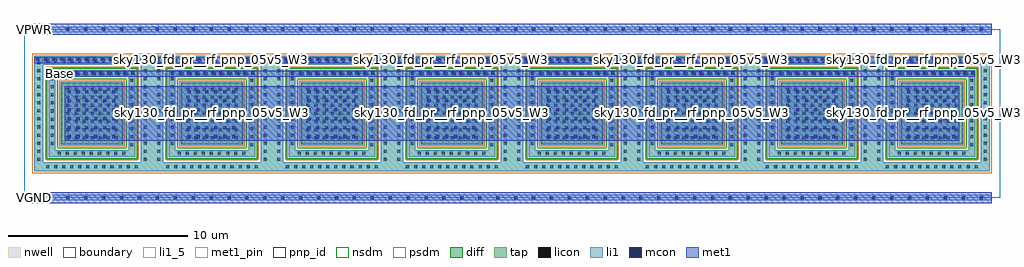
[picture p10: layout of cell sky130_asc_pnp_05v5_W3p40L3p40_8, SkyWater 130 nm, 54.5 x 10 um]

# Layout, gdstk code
import gdstk
lib = gdstk.Library(unit=1e-6, precision=1e-09)
def R(c, l, rs):  # rectangles x0, y0, x1, y1
    for r in rs: c.add(gdstk.rectangle(r[:2], r[2:], *l))
def A(c, l, x, y, w, h, nx, ny, dx, dy):  # array of equal rectangles
    R(c, l, [(x+i*dx, y+j*dy, x+i*dx+w, y+j*dy+h) for i in range(nx) for j in range(ny)])
nwell = (64, 20)
diff = (65, 20)
tap = (65, 44)
licon = (66, 44)
li1_5 = (67, 5)
li1 = (67, 20)
mcon = (67, 44)
met1_pin = (68, 16)
met1 = (68, 20)
pnp_id = (82, 44)
nsdm = (93, 44)
psdm = (94, 20)
boundary = (235, 4)

sky130_asc_pnp_05v5_w3p4 = lib.new_cell('sky130_asc_pnp_05v5_W3p40L3p40_8')
A(sky130_asc_pnp_05v5_w3p4, nwell, 1.215, 2.115, 5.17, 5.17, 8, 1, 6.7, 0)
A(sky130_asc_pnp_05v5_w3p4, diff, 2.1, 3, 3.4, 3.4, 8, 1, 6.7, 0)
A(sky130_asc_pnp_05v5_w3p4, tap, 6.515, 1.985, 1.27, 5.43, 7, 1, 6.7, 0)
A(sky130_asc_pnp_05v5_w3p4, tap, 1.395, 2.295, 4.81, 0.36, 8, 2, 6.7, 4.45)
R(sky130_asc_pnp_05v5_w3p4, tap, [(0.58,1.48,53.92,1.985), (0.58,1.985,1.085,7.415), (53.415,1.985,53.92,7.415), (1.395,2.655,1.755,6.745), (5.845,2.655,6.205,6.745), (8.095,2.655,8.455,6.745), (12.545,2.655,12.905,6.745), (14.795,2.655,15.155,6.745), (19.245,2.655,19.605,6.745), (21.495,2.655,21.855,6.745), (25.945,2.655,26.305,6.745), (28.195,2.655,28.555,6.745), (32.645,2.655,33.005,6.745), (34.895,2.655,35.255,6.745), (39.345,2.655,39.705,6.745), (41.595,2.655,41.955,6.745), (46.045,2.655,46.405,6.745), (48.295,2.655,48.655,6.745), (52.745,2.655,53.105,6.745), (0.58,7.415,53.92,7.92)])
A(sky130_asc_pnp_05v5_w3p4, licon, 1.23, 1.64, 0.17, 0.17, 12, 2, 0.45, 5.935)
A(sky130_asc_pnp_05v5_w3p4, licon, 7.93, 1.64, 0.17, 0.17, 12, 2, 0.45, 5.935)
A(sky130_asc_pnp_05v5_w3p4, licon, 14.63, 1.64, 0.17, 0.17, 12, 2, 0.45, 5.935)
A(sky130_asc_pnp_05v5_w3p4, licon, 21.33, 1.64, 0.17, 0.17, 12, 2, 0.45, 5.935)
A(sky130_asc_pnp_05v5_w3p4, licon, 28.03, 1.64, 0.17, 0.17, 12, 2, 0.45, 5.935)
A(sky130_asc_pnp_05v5_w3p4, licon, 34.73, 1.64, 0.17, 0.17, 12, 2, 0.45, 5.935)
A(sky130_asc_pnp_05v5_w3p4, licon, 41.43, 1.64, 0.17, 0.17, 12, 2, 0.45, 5.935)
A(sky130_asc_pnp_05v5_w3p4, licon, 48.13, 1.64, 0.17, 0.17, 12, 2, 0.45, 5.935)
A(sky130_asc_pnp_05v5_w3p4, licon, 0.75, 2.06, 0.17, 0.17, 1, 13, 0, 0.45)
A(sky130_asc_pnp_05v5_w3p4, licon, 6.685, 2.06, 0.17, 0.17, 1, 13, 0, 0.45)
A(sky130_asc_pnp_05v5_w3p4, licon, 7.45, 2.06, 0.17, 0.17, 1, 13, 0, 0.45)
A(sky130_asc_pnp_05v5_w3p4, licon, 13.385, 2.06, 0.17, 0.17, 1, 13, 0, 0.45)
A(sky130_asc_pnp_05v5_w3p4, licon, 14.15, 2.06, 0.17, 0.17, 1, 13, 0, 0.45)
A(sky130_asc_pnp_05v5_w3p4, licon, 20.085, 2.06, 0.17, 0.17, 1, 13, 0, 0.45)
A(sky130_asc_pnp_05v5_w3p4, licon, 20.85, 2.06, 0.17, 0.17, 1, 13, 0, 0.45)
A(sky130_asc_pnp_05v5_w3p4, licon, 26.785, 2.06, 0.17, 0.17, 1, 13, 0, 0.45)
A(sky130_asc_pnp_05v5_w3p4, licon, 27.55, 2.06, 0.17, 0.17, 1, 13, 0, 0.45)
A(sky130_asc_pnp_05v5_w3p4, licon, 33.485, 2.06, 0.17, 0.17, 1, 13, 0, 0.45)
A(sky130_asc_pnp_05v5_w3p4, licon, 34.25, 2.06, 0.17, 0.17, 1, 13, 0, 0.45)
A(sky130_asc_pnp_05v5_w3p4, licon, 40.185, 2.06, 0.17, 0.17, 1, 13, 0, 0.45)
A(sky130_asc_pnp_05v5_w3p4, licon, 40.95, 2.06, 0.17, 0.17, 1, 13, 0, 0.45)
A(sky130_asc_pnp_05v5_w3p4, licon, 46.885, 2.06, 0.17, 0.17, 1, 13, 0, 0.45)
A(sky130_asc_pnp_05v5_w3p4, licon, 47.65, 2.06, 0.17, 0.17, 1, 13, 0, 0.45)
A(sky130_asc_pnp_05v5_w3p4, licon, 53.585, 2.06, 0.17, 0.17, 1, 13, 0, 0.45)
A(sky130_asc_pnp_05v5_w3p4, licon, 1.88, 2.39, 0.17, 0.17, 9, 1, 0.45, 0)
A(sky130_asc_pnp_05v5_w3p4, licon, 8.58, 2.39, 0.17, 0.17, 9, 1, 0.45, 0)
A(sky130_asc_pnp_05v5_w3p4, licon, 15.28, 2.39, 0.17, 0.17, 9, 1, 0.45, 0)
A(sky130_asc_pnp_05v5_w3p4, licon, 21.98, 2.39, 0.17, 0.17, 9, 1, 0.45, 0)
A(sky130_asc_pnp_05v5_w3p4, licon, 28.68, 2.39, 0.17, 0.17, 9, 1, 0.45, 0)
A(sky130_asc_pnp_05v5_w3p4, licon, 35.38, 2.39, 0.17, 0.17, 9, 1, 0.45, 0)
A(sky130_asc_pnp_05v5_w3p4, licon, 42.08, 2.39, 0.17, 0.17, 9, 1, 0.45, 0)
A(sky130_asc_pnp_05v5_w3p4, licon, 48.78, 2.39, 0.17, 0.17, 9, 1, 0.45, 0)
A(sky130_asc_pnp_05v5_w3p4, licon, 5.94, 2.86, 0.17, 0.17, 8, 9, 6.7, 0.45)
A(sky130_asc_pnp_05v5_w3p4, licon, 1.49, 2.955, 0.17, 0.17, 8, 9, 6.7, 0.45)
A(sky130_asc_pnp_05v5_w3p4, licon, 2.37, 3.27, 0.17, 0.17, 7, 7, 0.45, 0.45)
A(sky130_asc_pnp_05v5_w3p4, licon, 9.07, 3.27, 0.17, 0.17, 7, 7, 0.45, 0.45)
A(sky130_asc_pnp_05v5_w3p4, licon, 15.77, 3.27, 0.17, 0.17, 7, 7, 0.45, 0.45)
A(sky130_asc_pnp_05v5_w3p4, licon, 22.47, 3.27, 0.17, 0.17, 7, 7, 0.45, 0.45)
A(sky130_asc_pnp_05v5_w3p4, licon, 29.17, 3.27, 0.17, 0.17, 7, 7, 0.45, 0.45)
A(sky130_asc_pnp_05v5_w3p4, licon, 35.87, 3.27, 0.17, 0.17, 7, 7, 0.45, 0.45)
A(sky130_asc_pnp_05v5_w3p4, licon, 42.57, 3.27, 0.17, 0.17, 7, 7, 0.45, 0.45)
A(sky130_asc_pnp_05v5_w3p4, licon, 49.27, 3.27, 0.17, 0.17, 7, 7, 0.45, 0.45)
A(sky130_asc_pnp_05v5_w3p4, licon, 2.05, 6.84, 0.17, 0.17, 9, 1, 0.45, 0)
A(sky130_asc_pnp_05v5_w3p4, licon, 8.75, 6.84, 0.17, 0.17, 9, 1, 0.45, 0)
A(sky130_asc_pnp_05v5_w3p4, licon, 15.45, 6.84, 0.17, 0.17, 9, 1, 0.45, 0)
A(sky130_asc_pnp_05v5_w3p4, licon, 22.15, 6.84, 0.17, 0.17, 9, 1, 0.45, 0)
A(sky130_asc_pnp_05v5_w3p4, licon, 28.85, 6.84, 0.17, 0.17, 9, 1, 0.45, 0)
A(sky130_asc_pnp_05v5_w3p4, licon, 35.55, 6.84, 0.17, 0.17, 9, 1, 0.45, 0)
A(sky130_asc_pnp_05v5_w3p4, licon, 42.25, 6.84, 0.17, 0.17, 9, 1, 0.45, 0)
A(sky130_asc_pnp_05v5_w3p4, licon, 48.95, 6.84, 0.17, 0.17, 9, 1, 0.45, 0)
A(sky130_asc_pnp_05v5_w3p4, li1_5, 3.22, 4.48, 1.24, 0.52, 8, 1, 6.7, 0)
A(sky130_asc_pnp_05v5_w3p4, li1_5, 3.4, 6.86, 0.59, 0.2, 8, 1, 6.7, 0)
A(sky130_asc_pnp_05v5_w3p4, li1_5, 3.515, 7.61, 0.505, 0.245, 8, 1, 6.7, 0)
A(sky130_asc_pnp_05v5_w3p4, li1, 6.525, 1.975, 1.25, 5.45, 7, 1, 6.7, 0)
A(sky130_asc_pnp_05v5_w3p4, li1, 1.395, 2.295, 4.81, 0.36, 8, 2, 6.7, 4.45)
A(sky130_asc_pnp_05v5_w3p4, li1, 2.065, 2.965, 3.47, 3.47, 8, 1, 6.7, 0)
R(sky130_asc_pnp_05v5_w3p4, li1, [(0.45,-0.15,54.05,0.15), (0.58,1.48,53.92,1.975), (0.58,1.975,1.075,7.425), (53.425,1.975,53.92,7.425), (1.395,2.655,1.755,6.745), (5.845,2.655,6.205,6.745), (8.095,2.655,8.455,6.745), (12.545,2.655,12.905,6.745), (14.795,2.655,15.155,6.745), (19.245,2.655,19.605,6.745), (21.495,2.655,21.855,6.745), (25.945,2.655,26.305,6.745), (28.195,2.655,28.555,6.745), (32.645,2.655,33.005,6.745), (34.895,2.655,35.255,6.745), (39.345,2.655,39.705,6.745), (41.595,2.655,41.955,6.745), (46.045,2.655,46.405,6.745), (48.295,2.655,48.655,6.745), (52.745,2.655,53.105,6.745), (0.58,7.425,53.92,7.92), (0.45,9.25,54.05,9.55)])
A(sky130_asc_pnp_05v5_w3p4, mcon, 1.365, -0.085, 0.17, 0.17, 53, 2, 1, 9.4)
A(sky130_asc_pnp_05v5_w3p4, mcon, 2.43, 3.33, 0.17, 0.17, 6, 6, 0.5, 0.5)
A(sky130_asc_pnp_05v5_w3p4, mcon, 9.13, 3.33, 0.17, 0.17, 6, 6, 0.5, 0.5)
A(sky130_asc_pnp_05v5_w3p4, mcon, 15.83, 3.33, 0.17, 0.17, 6, 6, 0.5, 0.5)
A(sky130_asc_pnp_05v5_w3p4, mcon, 22.53, 3.33, 0.17, 0.17, 6, 6, 0.5, 0.5)
A(sky130_asc_pnp_05v5_w3p4, mcon, 29.23, 3.33, 0.17, 0.17, 6, 6, 0.5, 0.5)
A(sky130_asc_pnp_05v5_w3p4, mcon, 35.93, 3.33, 0.17, 0.17, 6, 6, 0.5, 0.5)
A(sky130_asc_pnp_05v5_w3p4, mcon, 42.63, 3.33, 0.17, 0.17, 6, 6, 0.5, 0.5)
A(sky130_asc_pnp_05v5_w3p4, mcon, 49.33, 3.33, 0.17, 0.17, 6, 6, 0.5, 0.5)
A(sky130_asc_pnp_05v5_w3p4, mcon, 1.5, 6.85, 0.17, 0.17, 11, 1, 0.45, 0)
A(sky130_asc_pnp_05v5_w3p4, mcon, 8.2, 6.85, 0.17, 0.17, 11, 1, 0.45, 0)
A(sky130_asc_pnp_05v5_w3p4, mcon, 14.9, 6.85, 0.17, 0.17, 11, 1, 0.45, 0)
A(sky130_asc_pnp_05v5_w3p4, mcon, 21.6, 6.85, 0.17, 0.17, 11, 1, 0.45, 0)
A(sky130_asc_pnp_05v5_w3p4, mcon, 28.3, 6.85, 0.17, 0.17, 11, 1, 0.45, 0)
A(sky130_asc_pnp_05v5_w3p4, mcon, 35, 6.85, 0.17, 0.17, 11, 1, 0.45, 0)
A(sky130_asc_pnp_05v5_w3p4, mcon, 41.7, 6.85, 0.17, 0.17, 11, 1, 0.45, 0)
A(sky130_asc_pnp_05v5_w3p4, mcon, 48.4, 6.85, 0.17, 0.17, 11, 1, 0.45, 0)
A(sky130_asc_pnp_05v5_w3p4, mcon, 0.68, 7.65, 0.17, 0.17, 14, 1, 0.45, 0)
A(sky130_asc_pnp_05v5_w3p4, mcon, 7.38, 7.65, 0.17, 0.17, 14, 1, 0.45, 0)
A(sky130_asc_pnp_05v5_w3p4, mcon, 14.08, 7.65, 0.17, 0.17, 14, 1, 0.45, 0)
A(sky130_asc_pnp_05v5_w3p4, mcon, 20.78, 7.65, 0.17, 0.17, 14, 1, 0.45, 0)
A(sky130_asc_pnp_05v5_w3p4, mcon, 27.48, 7.65, 0.17, 0.17, 14, 1, 0.45, 0)
A(sky130_asc_pnp_05v5_w3p4, mcon, 34.18, 7.65, 0.17, 0.17, 14, 1, 0.45, 0)
A(sky130_asc_pnp_05v5_w3p4, mcon, 40.88, 7.65, 0.17, 0.17, 14, 1, 0.45, 0)
A(sky130_asc_pnp_05v5_w3p4, mcon, 47.58, 7.65, 0.17, 0.17, 14, 1, 0.45, 0)
R(sky130_asc_pnp_05v5_w3p4, met1_pin, [(0.45,-0.15,0.75,0.15), (3.15,5.05,4.35,5.7), (1.4,6.86,2.6,7.06), (0.58,7.62,1.78,7.82), (0.45,9.25,0.75,9.55)])
R(sky130_asc_pnp_05v5_w3p4, met1, [(0.45,-0.3,54.05,0.3), (2.27,3.17,52.23,6.23), (1.4,6.75,53.1,7.1), (0.58,7.5,53.92,7.85), (0.45,9.1,54.05,9.7)])
R(sky130_asc_pnp_05v5_w3p4, pnp_id, [(0.58,1.48,53.92,7.92)])
A(sky130_asc_pnp_05v5_w3p4, nsdm, 1.27, 2.17, 5.06, 0.61, 8, 2, 6.7, 4.45)
R(sky130_asc_pnp_05v5_w3p4, nsdm, [(1.27,2.78,1.88,6.62), (5.72,2.78,6.33,6.62), (7.97,2.78,8.58,6.62), (12.42,2.78,13.03,6.62), (14.67,2.78,15.28,6.62), (19.12,2.78,19.73,6.62), (21.37,2.78,21.98,6.62), (25.82,2.78,26.43,6.62), (28.07,2.78,28.68,6.62), (32.52,2.78,33.13,6.62), (34.77,2.78,35.38,6.62), (39.22,2.78,39.83,6.62), (41.47,2.78,42.08,6.62), (45.92,2.78,46.53,6.62), (48.17,2.78,48.78,6.62), (52.62,2.78,53.23,6.62)])
A(sky130_asc_pnp_05v5_w3p4, psdm, 6.39, 2.11, 1.52, 5.18, 7, 1, 6.7, 0)
A(sky130_asc_pnp_05v5_w3p4, psdm, 1.975, 2.875, 3.65, 3.65, 8, 1, 6.7, 0)
R(sky130_asc_pnp_05v5_w3p4, psdm, [(0.455,1.355,54.045,2.11), (0.455,2.11,1.21,7.29), (53.29,2.11,54.045,7.29), (0.455,7.29,54.045,8.045)])
R(sky130_asc_pnp_05v5_w3p4, boundary, [(0,0,54.5,9.4)])
sky130_asc_pnp_05v5_w3p4.add(gdstk.Label('sky130_fd_pr__rf_pnp_05v5_W3p40L3p40_6/Emitter', (50.74,4.74), layer=67, texttype=5))
sky130_asc_pnp_05v5_w3p4.add(gdstk.Label('sky130_fd_pr__rf_pnp_05v5_W3p40L3p40_6/Collector', (50.667,7.732), layer=67, texttype=5))
sky130_asc_pnp_05v5_w3p4.add(gdstk.Label('sky130_fd_pr__rf_pnp_05v5_W3p40L3p40_6/Base', (50.595,6.96), layer=67, texttype=5))
sky130_asc_pnp_05v5_w3p4.add(gdstk.Label('sky130_fd_pr__rf_pnp_05v5_W3p40L3p40_5/Emitter', (44.04,4.74), layer=67, texttype=5))
sky130_asc_pnp_05v5_w3p4.add(gdstk.Label('sky130_fd_pr__rf_pnp_05v5_W3p40L3p40_5/Collector', (43.967,7.732), layer=67, texttype=5))
sky130_asc_pnp_05v5_w3p4.add(gdstk.Label('sky130_fd_pr__rf_pnp_05v5_W3p40L3p40_5/Base', (43.895,6.96), layer=67, texttype=5))
sky130_asc_pnp_05v5_w3p4.add(gdstk.Label('sky130_fd_pr__rf_pnp_05v5_W3p40L3p40_4/Emitter', (37.34,4.74), layer=67, texttype=5))
sky130_asc_pnp_05v5_w3p4.add(gdstk.Label('sky130_fd_pr__rf_pnp_05v5_W3p40L3p40_4/Collector', (37.267,7.732), layer=67, texttype=5))
sky130_asc_pnp_05v5_w3p4.add(gdstk.Label('sky130_fd_pr__rf_pnp_05v5_W3p40L3p40_4/Base', (37.195,6.96), layer=67, texttype=5))
sky130_asc_pnp_05v5_w3p4.add(gdstk.Label('sky130_fd_pr__rf_pnp_05v5_W3p40L3p40_3/Emitter', (30.64,4.74), layer=67, texttype=5))
sky130_asc_pnp_05v5_w3p4.add(gdstk.Label('sky130_fd_pr__rf_pnp_05v5_W3p40L3p40_3/Collector', (30.567,7.732), layer=67, texttype=5))
sky130_asc_pnp_05v5_w3p4.add(gdstk.Label('sky130_fd_pr__rf_pnp_05v5_W3p40L3p40_3/Base', (30.495,6.96), layer=67, texttype=5))
sky130_asc_pnp_05v5_w3p4.add(gdstk.Label('sky130_fd_pr__rf_pnp_05v5_W3p40L3p40_2/Emitter', (23.94,4.74), layer=67, texttype=5))
sky130_asc_pnp_05v5_w3p4.add(gdstk.Label('sky130_fd_pr__rf_pnp_05v5_W3p40L3p40_2/Collector', (23.867,7.732), layer=67, texttype=5))
sky130_asc_pnp_05v5_w3p4.add(gdstk.Label('sky130_fd_pr__rf_pnp_05v5_W3p40L3p40_2/Base', (23.795,6.96), layer=67, texttype=5))
sky130_asc_pnp_05v5_w3p4.add(gdstk.Label('sky130_fd_pr__rf_pnp_05v5_W3p40L3p40_1/Emitter', (17.24,4.74), layer=67, texttype=5))
sky130_asc_pnp_05v5_w3p4.add(gdstk.Label('sky130_fd_pr__rf_pnp_05v5_W3p40L3p40_1/Collector', (17.167,7.732), layer=67, texttype=5))
sky130_asc_pnp_05v5_w3p4.add(gdstk.Label('sky130_fd_pr__rf_pnp_05v5_W3p40L3p40_1/Base', (17.095,6.96), layer=67, texttype=5))
sky130_asc_pnp_05v5_w3p4.add(gdstk.Label('sky130_fd_pr__rf_pnp_05v5_W3p40L3p40_0/Emitter', (10.54,4.74), layer=67, texttype=5))
sky130_asc_pnp_05v5_w3p4.add(gdstk.Label('sky130_fd_pr__rf_pnp_05v5_W3p40L3p40_0/Collector', (10.467,7.732), layer=67, texttype=5))
sky130_asc_pnp_05v5_w3p4.add(gdstk.Label('sky130_fd_pr__rf_pnp_05v5_W3p40L3p40_0/Base', (10.395,6.96), layer=67, texttype=5))
sky130_asc_pnp_05v5_w3p4.add(gdstk.Label('xm1/Emitter', (3.84,4.74), layer=67, texttype=5))
sky130_asc_pnp_05v5_w3p4.add(gdstk.Label('xm1/Collector', (3.767,7.732), layer=67, texttype=5))
sky130_asc_pnp_05v5_w3p4.add(gdstk.Label('xm1/Base', (3.695,6.96), layer=67, texttype=5))
sky130_asc_pnp_05v5_w3p4.add(gdstk.Label('Emitter', (3.75,5.375), layer=68, texttype=16))
sky130_asc_pnp_05v5_w3p4.add(gdstk.Label('Base', (2,6.96), layer=68, texttype=16))
sky130_asc_pnp_05v5_w3p4.add(gdstk.Label('Collector', (1.18,7.72), layer=68, texttype=16))
sky130_asc_pnp_05v5_w3p4.add(gdstk.Label('VPWR', (0.6,9.4), layer=68, texttype=16))
sky130_asc_pnp_05v5_w3p4.add(gdstk.Label('VGND', (0.6,0), layer=68, texttype=16))

lib.write_gds('sky130_asc_pnp_05v5_W3p40L3p40_8.gds')
